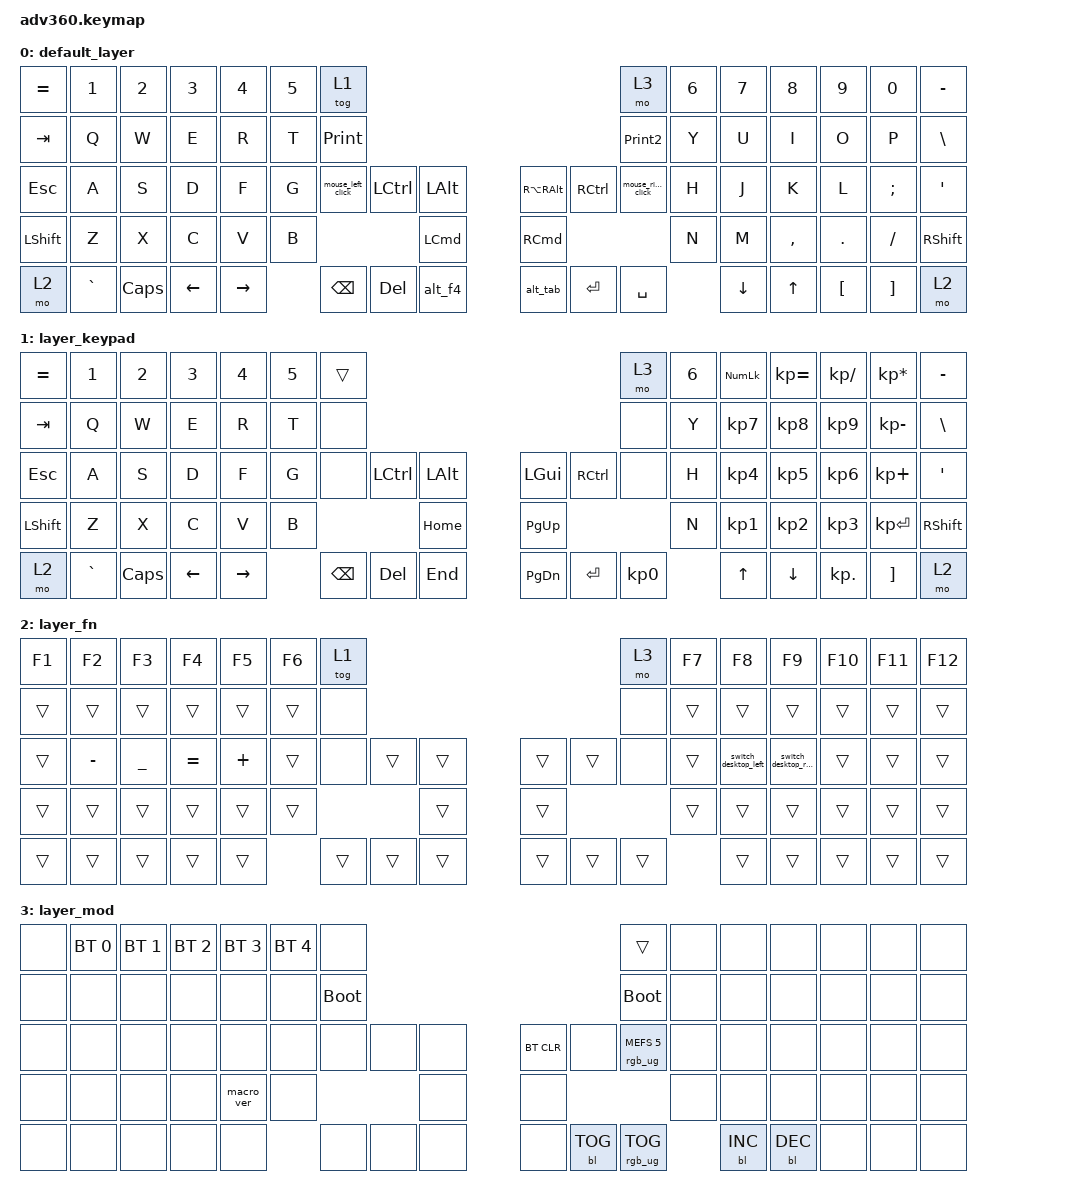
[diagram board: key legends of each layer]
/*
 * Copyright (c) 2020 The ZMK Contributors
 *
 * SPDX-License-Identifier: MIT
 */
/* THIS FILE WAS GENERATED!
 *
 * This file was generated automatically. You may or may not want to
 * edit it directly.
 */

#include <behaviors.dtsi>
#include <dt-bindings/zmk/backlight.h>
#include <dt-bindings/zmk/bt.h>
#include <dt-bindings/zmk/keys.h>
#include <dt-bindings/zmk/mouse.h>
#include <dt-bindings/zmk/rgb.h>

/ {
    behaviors {
        #include "macros.dtsi"
    #include "version.dtsi"

        hm: homerow_mods {
            compatible = "zmk,behavior-hold-tap";
            label = "HOMEROW_MODS";
            #binding-cells = <2>;
            tapping-term-ms = <200>;
            quick_tap_ms = <175>;
            flavor = "tap-preferred";
            bindings = <&kp>, <&kp>;
        };
    };

    macros {
        alt_tab: alt_tab {
            compatible = "zmk,behavior-macro";
            #binding-cells = <0>;
            bindings = <&kp LA(TAB)>;
            label = "ALT_TAB";
        };

        alt_f4: alt_f4 {
            compatible = "zmk,behavior-macro";
            #binding-cells = <0>;
            bindings = <&kp LA(F4)>;
            label = "ALT_F4";
        };

        mouse_right_click: mouse_right_click {
            compatible = "zmk,behavior-macro";
            #binding-cells = <0>;
            bindings = <&mkp RCLK>;
            label = "MOUSE_RIGHT_CLICK";
        };

        mouse_left_click: mouse_left_click {
            compatible = "zmk,behavior-macro";
            #binding-cells = <0>;
            bindings = <&mkp LCLK>;
            label = "MOUSE_LEFT_CLICK";
        };

        switch_desktop_right: switch_desktop {
            compatible = "zmk,behavior-macro";
            #binding-cells = <0>;
            bindings = <&kp LC(LG(RIGHT))>;
            label = "SWITCH_DESKTOP";
        };

        switch_desktop_left: switch_desktop_left {
            compatible = "zmk,behavior-macro";
            #binding-cells = <0>;
            bindings = <&kp LC(LG(LEFT))>;
            label = "SWITCH_DESKTOP_LEFT";
        };

        Print: Print {
            compatible = "zmk,behavior-macro";
            #binding-cells = <0>;
            bindings = <&kp C_AC_PRINT &kp LEFT_SHIFT>;
            label = "PRINT";
        };

        Print2: Print2 {
            compatible = "zmk,behavior-macro";
            #binding-cells = <0>;
            bindings = <&kp PRINTSCREEN &kp LSHIFT>;
            label = "PRINT2";
        };
    };

    keymap {
        compatible = "zmk,keymap";

        default_layer {
            bindings = <
&kp EQUAL  &kp N1     &kp N2    &kp N3    &kp N4     &kp N5  &tog 1                                                                            &mo 3               &kp N6  &kp N7    &kp N8     &kp N9    &kp N0    &kp MINUS
&kp TAB    &kp Q      &kp W     &kp E     &kp R      &kp T   &Print                                                                            &Print2             &kp Y   &kp U     &kp I      &kp O     &kp P     &kp BSLH
&kp ESC    &kp A      &kp S     &kp D     &kp F      &kp G   &mouse_left_click  &kp LCTRL  &kp LALT              &kp RA(RIGHT_ALT)  &kp RCTRL  &mouse_right_click  &kp H   &kp J     &kp K      &kp L     &kp SEMI  &kp SQT
&kp LSHFT  &kp Z      &kp X     &kp C     &kp V      &kp B                                 &kp LEFT_COMMAND      &kp RIGHT_COMMAND                                 &kp N   &kp M     &kp COMMA  &kp DOT   &kp FSLH  &kp RSHFT
&mo 2      &kp GRAVE  &kp CAPS  &kp LEFT  &kp RIGHT          &kp BSPC           &kp DEL    &alt_f4               &alt_tab           &kp ENTER  &kp SPACE                   &kp DOWN  &kp UP     &kp LBKT  &kp RBKT  &mo 2
            >;
        };

        layer_keypad {
            bindings = <
&kp EQUAL  &kp N1     &kp N2    &kp N3    &kp N4     &kp N5  &trans                                                   &mo 3      &kp N6  &kp KP_NUM  &kp KP_EQUAL  &kp KP_DIVIDE  &kp KP_MULTIPLY  &kp MINUS
&kp TAB    &kp Q      &kp W     &kp E     &kp R      &kp T   &none                                                    &none      &kp Y   &kp KP_N7   &kp KP_N8     &kp KP_N9      &kp KP_MINUS     &kp BSLH
&kp ESC    &kp A      &kp S     &kp D     &kp F      &kp G   &none     &kp LCTRL  &kp LALT      &kp LGUI   &kp RCTRL  &none      &kp H   &kp KP_N4   &kp KP_N5     &kp KP_N6      &kp KP_PLUS      &kp SQT
&kp LSHFT  &kp Z      &kp X     &kp C     &kp V      &kp B                        &kp HOME      &kp PG_UP                        &kp N   &kp KP_N1   &kp KP_N2     &kp KP_N3      &kp KP_ENTER     &kp RSHFT
&mo 2      &kp GRAVE  &kp CAPS  &kp LEFT  &kp RIGHT          &kp BSPC  &kp DEL    &kp END       &kp PG_DN  &kp ENTER  &kp KP_N0          &kp UP      &kp DOWN      &kp KP_DOT     &kp RBKT         &mo 2
            >;
        };

        layer_fn {
            bindings = <
&kp F1  &kp F2     &kp F3     &kp F4     &kp F5    &kp F6  &tog 1                                      &mo 3   &kp F7  &kp F8                &kp F9                 &kp F10  &kp F11  &kp F12
&trans  &trans     &trans     &trans     &trans    &trans  &none                                       &none   &trans  &trans                &trans                 &trans   &trans   &trans
&trans  &kp MINUS  &kp UNDER  &kp EQUAL  &kp PLUS  &trans  &none   &trans  &trans      &trans  &trans  &none   &trans  &switch_desktop_left  &switch_desktop_right  &trans   &trans   &trans
&trans  &trans     &trans     &trans     &trans    &trans                  &trans      &trans                  &trans  &trans                &trans                 &trans   &trans   &trans
&trans  &trans     &trans     &trans     &trans            &trans  &trans  &trans      &trans  &trans  &trans          &trans                &trans                 &trans   &trans   &trans
            >;
        };

        layer_mod {
            bindings = <
&none  &bt BT_SEL 0  &bt BT_SEL 1  &bt BT_SEL 2  &bt BT_SEL 3  &bt BT_SEL 4  &none                                                  &trans                  &none  &none       &none       &none  &none  &none
&none  &none         &none         &none         &none         &none         &bootloader                                            &bootloader             &none  &none       &none       &none  &none  &none
&none  &none         &none         &none         &none         &none         &none        &none  &none      &bt BT_CLR  &none       &rgb_ug RGB_MEFS_CMD 5  &none  &none       &none       &none  &none  &none
&none  &none         &none         &none         &macro_ver    &none                             &none      &none                                           &none  &none       &none       &none  &none  &none
&none  &none         &none         &none         &none                       &none        &none  &none      &none       &bl BL_TOG  &rgb_ug RGB_TOG                &bl BL_INC  &bl BL_DEC  &none  &none  &none
            >;
        };
    };
};
